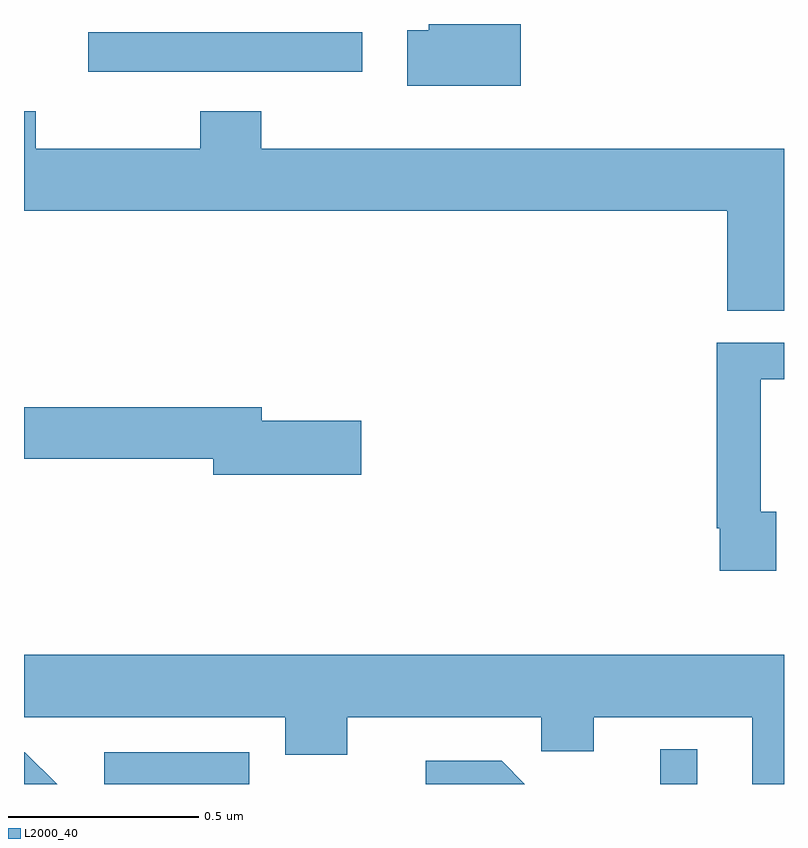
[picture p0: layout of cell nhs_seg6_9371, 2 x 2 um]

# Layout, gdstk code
import gdstk
lib = gdstk.Library(unit=1e-6, precision=1e-09)
def R(c, l, rs):  # rectangles x0, y0, x1, y1
    for r in rs: c.add(gdstk.rectangle(r[:2], r[2:], *l))
def P(c, l, *ps):  # polygons
    for p in ps: c.add(gdstk.Polygon(p, *l))
L2000_40 = (2000, 40)

nhs_seg6_9371 = lib.new_cell('nhs_seg6_9371')
R(nhs_seg6_9371, L2000_40, [(233.211,940.5,233.593,940.584), (234.674,940.5,234.772,940.591), (233.169,942.374,233.89,942.478)])
P(nhs_seg6_9371, L2000_40, [(234.307,942.5),(234.065,942.5),(234.065,942.483),(234.009,942.483),(234.009,942.338),(234.307,942.338)],
  [(235,942.172),(233.624,942.172),(233.624,942.271),(233.464,942.271),(233.464,942.172),(233.031,942.172),(233.031,942.271),(233,942.271),(233,942.008),(234.851,942.008),(234.851,941.746),(235,941.746)],
  [(234.979,941.217),(234.939,941.217),(234.939,941.565),(235,941.565),(235,941.661),(234.823,941.661),(234.823,941.173),(234.831,941.173),(234.831,941.061),(234.979,941.061)],
  [(233.887,941.456),(233.626,941.456),(233.626,941.492),(233,941.492),(233,941.356),(233.498,941.356),(233.498,941.314),(233.887,941.314)],
  [(235,940.84),(233,940.84),(233,940.676),(233.687,940.676),(233.687,940.577),(233.851,940.577),(233.851,940.676),(234.361,940.676),(234.361,940.586),(234.499,940.586),(234.499,940.676),(234.917,940.676),(234.917,940.5),(235,940.5)],
  [(233.002,940.584),(233,940.584),(233,940.5),(233.087,940.5)],
  [(234.257,940.561),(234.057,940.561),(234.057,940.5),(234.318,940.5)])

lib.write_gds('nhs_seg6_9371.gds')
